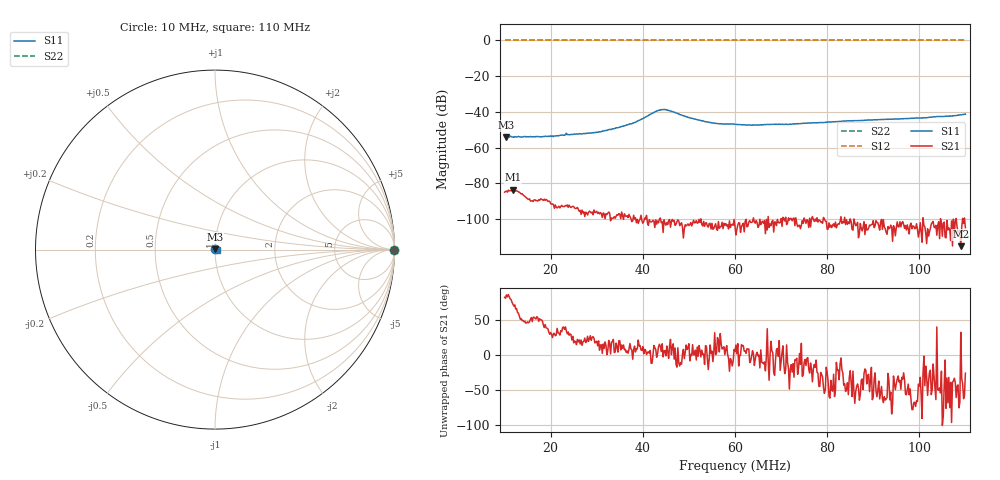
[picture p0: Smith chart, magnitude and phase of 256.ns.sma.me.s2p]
! Anritsu VNA Master:  Model: MS2036C/10/77
! SN:  1601066
! /card0/usr/256.ns.sma.me.s2p
! Existing Calibration Information:
! TYPE:  Current Settings,  Active Cal Settings
! TIME:  12/19/2017 03:45:59 PM,  12/19/2017 03:30:41 PM
! INTERNAL TEMP:  47.5 C,  48.0 C
! # POINTS:  501,  501
! START FREQ:  10.000 MHz,  10.000 MHz
! STOP FREQ:  110.000 MHz,  110.000 MHz
! SOURCE POWER:  High,  High
! IFBW:  100 Hz,  100 Hz
! AVG FACTOR:  1 ,  1
! REF PLANE 1:  0 mm,  0 mm
! REF PLANE 2:  0 mm,  0 mm
! CAL TYPE:  Full S11,  Full S11
! CAL METHOD:  SOLT,  SOLT
! CAL LINE TYPE:  Coax,  Coax
! DUT PORT 1:  N-Conn(F),  N-Conn(F)
! DUT PORT 2:  K-Conn(F),  K-Conn(F)
! CAL STATUS:  OK: Accuracy High,  --
# GHZ S DB R 50.0
! FREQ.GHZ  S11DB  S11A  S21DB  S21A  S12DB  S12A  S22DB  S22A
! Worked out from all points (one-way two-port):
!   501 points, 10 MHz to 110 MHz, reference 50 ohm
!   highest |S21| = -83.54 dB at 11.8 MHz (marker M1); lowest = -115.1 dB at 109 MHz (marker M2)
!   lowest |S11| = -54.3 dB at 10.4 MHz (marker M3), VSWR 1.00, Z = 49.8 + j0.0564 ohm
!   |S11| at or under -10 dB: start of sweep to end of sweep
!   |S22| runs from 0.0 to 0.0 dB; largest |S21 - S12| = 1
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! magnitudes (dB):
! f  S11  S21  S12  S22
! 10 MHz  -53.6  -84.9  0.0  0.0
! 10.4 MHz  -54.3  -84.3  0.0  0.0
! 11.8 MHz  -54.0  -83.5  0.0  0.0
! 20.6 MHz  -53.9  -91.9  0.0  0.0
! 23.6 MHz  -52.8  -92.1  0.0  0.0
! 26.8 MHz  -52.3  -94.9  0.0  0.0
! 30.6 MHz  -51.1  -97.1  0.0  0.0
! 36.2 MHz  -47.7  -98.2  0.0  0.0
! 38.4 MHz  -45.8  -99.2  0.0  0.0
! 43.4 MHz  -39.2  -102.1  0.0  0.0
! 44.4 MHz  -38.7  -107.5  0.0  0.0
! 45.2 MHz  -39.0  -102.0  0.0  0.0
! 50.2 MHz  -43.3  -103.1  0.0  0.0
! 54.6 MHz  -45.9  -102.4  0.0  0.0
! 60 MHz  -46.9  -104.2  0.0  0.0
! 64 MHz  -47.4  -99.3  0.0  0.0
! 71.8 MHz  -46.8  -100.6  0.0  0.0
! 76.8 MHz  -46.1  -98.6  0.0  0.0
! 93.4 MHz  -44.1  -105.4  0.0  0.0
! 101.4 MHz  -43.2  -108.0  0.0  0.0
! 109 MHz  -41.6  -115.1  0.0  0.0
! 110 MHz  -41.3  -104.8  0.0  0.0
